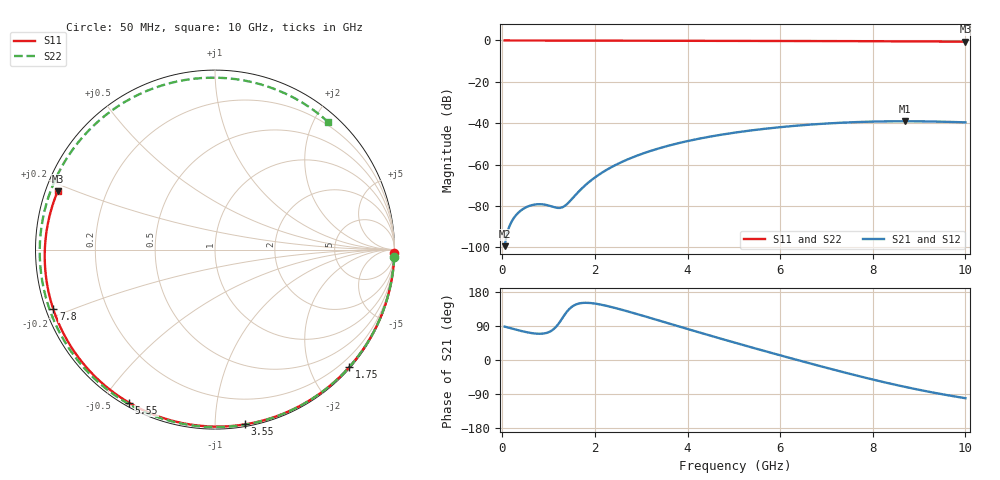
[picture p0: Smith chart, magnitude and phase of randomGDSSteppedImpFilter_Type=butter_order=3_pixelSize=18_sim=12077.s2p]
! freq	dB(S11)	phase(S11)	dB(S12)	phase(S12)
!  dB(S21)	phase(S21)	dB(S22)	phase(S22)
!S-par simulation data
#  GHz  S  DB  R 50
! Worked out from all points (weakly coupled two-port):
!   200 points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, 50 MHz to 10 GHz, reference 50 ohm
!   highest |S21| = -39.07 dB at 8.7 GHz (marker M1); lowest = -99.5 dB at 50 MHz (marker M2)
!   lowest |S11| = -0.6 dB at 10 GHz (marker M3), VSWR 29.75, Z = 1.74 + j8.98 ohm
!   |S11| at or under -10 dB: nowhere
!   |S22| runs from -0.4 to 0.0 dB; largest |S21 - S12| = 0
!   S11 on the Smith chart (normalised r, x): 50 MHz: 0, -94; 1.75 GHz: 0.02, -2.66; 3.55 GHz: 0.01, -1.19; 5.55 GHz: 0.01, -0.59; 7.8 GHz: 0.02, -0.18; 10 GHz: 0.03, +0.18
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0.05  -0.00 -1.2  -99.49 88.2  -99.49 88.2  -0.00 -2.4
0.35  -0.01 -8.4  -83.22 78.3  -83.22 78.3  -0.02 -16.4
0.65  -0.02 -15.5  -79.57 70.7  -79.57 70.7  -0.04 -30.1
0.8  -0.02 -19.1  -79.18 69.2  -79.18 69.2  -0.05 -36.9
1  -0.03 -23.8  -79.82 73.4  -79.82 73.4  -0.06 -45.7
1.35  -0.04 -32.0  -80.02 120.1  -80.02 120.1  -0.07 -60.7
1.75  -0.05 -41.2  -70.88 150.7  -70.88 150.7  -0.09 -76.8
2.05  -0.06 -48.0  -65.47 147.9  -65.47 147.9  -0.10 -88.3
2.45  -0.07 -56.9  -60.19 136.9  -60.19 136.9  -0.11 -102.6
2.9  -0.09 -66.6  -55.79 121.6  -55.79 121.6  -0.13 -117.7
3.4  -0.10 -77.2  -52.08 103.6  -52.08 103.6  -0.14 -133.2
3.55  -0.11 -80.3  -51.13 98.2  -51.13 98.2  -0.15 -137.6
4.3  -0.13 -95.4  -47.28 71.1  -47.28 71.1  -0.17 -158.8
5.05  -0.16 -109.9  -44.48 44.7  -44.48 44.7  -0.20 -178.6
5.55  -0.19 -119.2  -43.03 27.6  -43.03 27.6  -0.23 168.6
6.1  -0.22 -129.3  -41.72 9.0  -41.72 9.0  -0.25 154.7
6.7  -0.26 -140.1  -40.61 -10.8  -40.61 -10.8  -0.28 139.4
7.8  -0.35 -159.7  -39.36 -45.6  -39.36 -45.6  -0.34 110.7
8.35  -0.40 -169.6  -39.11 -61.6  -39.11 -61.6  -0.36 95.7
8.7  -0.44 -176.0  -39.07 -71.0  -39.07 -71.0  -0.38 86.0
9.35  -0.51 172.0  -39.22 -87.0  -39.22 -87.0  -0.41 67.4
10  -0.58 159.6  -39.62 -100.9  -39.62 -100.9  -0.45 48.3
